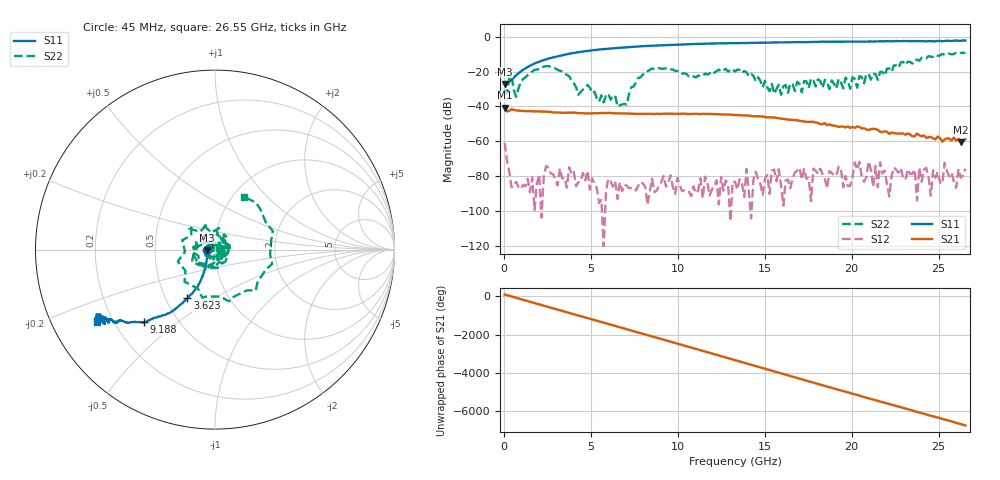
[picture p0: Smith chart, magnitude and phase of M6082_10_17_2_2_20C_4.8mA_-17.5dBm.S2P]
!  2-Port S-parameters saved by WinCal
! VAR MeasName=S-Parameters (CALIBRATED_DATA) read from VNA (C)
! VAR MeasDate=10/16/2015 3:51:27 PM
! VAR NAME=M6082_10_17_2_2_20C_4.8mA_-17.5dBm
! VAR FILENAME=M6082_10_17_2_2_20C_4.8mA_-17.5dBm.S2P
! VAR DATE=10/16/2015 3:51:27 PM
! VAR PHYS_PORTS=2,1
! VAR ObjTypeName=DATASET
! VAR IndexType=Frequency
# Hz S RI R 50
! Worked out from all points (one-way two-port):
!   201 points, 45 MHz to 26.55 GHz, reference 50 ohm
!   highest |S21| = -40.80 dB at 45 MHz (marker M1); lowest = -60.3 dB at 26.28 GHz (marker M2)
!   lowest |S11| = -27.1 dB at 45 MHz (marker M3), VSWR 1.09, Z = 45.8 - j0.134 ohm
!   |S11| at or under -10 dB: start of sweep to 3.676 GHz
!   |S22| runs from -40.2 to -9.2 dB; largest |S21 - S12| = 0.0094
!   S11 on the Smith chart (normalised r, x): 45 MHz: 0.92, -0.00; 3.623 GHz: 0.64, -0.39; 9.188 GHz: 0.32, -0.38; 26.55 GHz: 0.14, -0.28
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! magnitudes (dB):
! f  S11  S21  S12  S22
! 45 MHz  -27.1  -40.8  -60.9  -30.8
! 442.5 MHz  -24.7  -41.6  -86.3  -22.4
! 707.5 MHz  -22.2  -42.3  -83.1  -34.5
! 1.768 GHz  -15.4  -42.8  -99.3  -19.0
! 3.623 GHz  -10.1  -43.6  -86.5  -21.9
! 4.55 GHz  -8.5  -43.8  -78.1  -30.4
! 7.067 GHz  -6.2  -44.0  -85.5  -39.0
! 7.73 GHz  -5.7  -44.3  -85.3  -23.7
! 8.922 GHz  -5.0  -44.3  -85.1  -18.0
! 9.188 GHz  -4.9  -44.2  -79.8  -18.4
! 13.29 GHz  -3.7  -44.9  -83.2  -20.0
! 15.95 GHz  -3.3  -47.0  -85.3  -33.3
! 17.8 GHz  -3.1  -48.8  -75.6  -25.0
! 19.92 GHz  -2.9  -52.3  -85.6  -29.9
! 20.45 GHz  -2.9  -51.7  -71.8  -22.6
! 20.85 GHz  -2.9  -53.1  -80.6  -21.6
! 20.98 GHz  -2.8  -53.5  -71.6  -21.4
! 22.17 GHz  -2.7  -55.8  -91.5  -18.3
! 25.22 GHz  -2.7  -60.2  -84.2  -9.9
! 25.35 GHz  -2.5  -58.9  -72.3  -10.5
! 26.28 GHz  -2.4  -60.3  -80.8  -9.4
! 26.55 GHz  -2.2  -58.9  -75.6  -9.5
